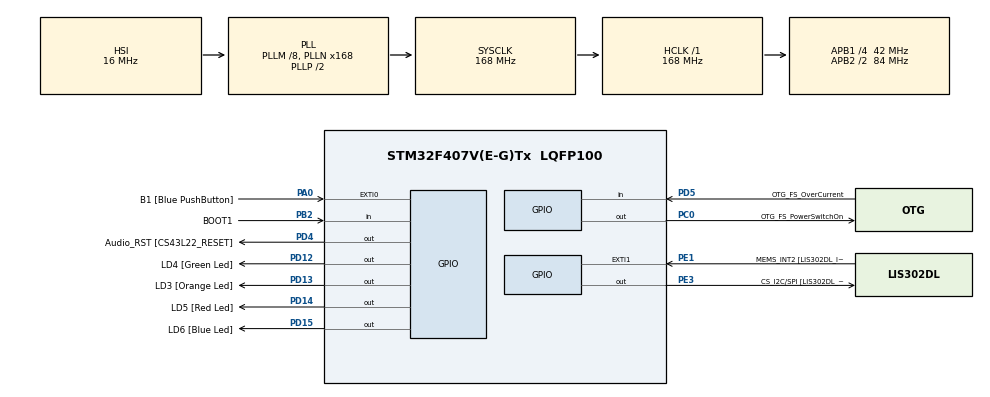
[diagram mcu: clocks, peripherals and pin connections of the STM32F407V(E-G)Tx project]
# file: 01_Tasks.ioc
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Mcu.Family=STM32F4
Mcu.Name=STM32F407V(E-G)Tx
Mcu.Package=LQFP100
NVIC.PriorityGroup=NVIC_PRIORITYGROUP_4
NVIC.TIM6_DAC_IRQn=true\:0\:0\:false\:false\:true\:false\:true\:true
NVIC.TimeBase=TIM6_DAC_IRQn
NVIC.TimeBaseIP=TIM6
PA0-WKUP.GPIO_Label=B1 [Blue PushButton]
PA0-WKUP.Signal=GPXTI0
PA10.GPIO_Label=OTG_FS_ID
PA10.GPIO_Mode=GPIO_MODE_AF_PP
PA10.GPIO_PuPd=GPIO_NOPULL
PA10.GPIO_Speed=GPIO_SPEED_FREQ_LOW
PA10.Signal=USB_OTG_FS_ID
PA11.GPIO_Label=OTG_FS_DM
PA11.GPIO_Mode=GPIO_MODE_AF_PP
PA11.GPIO_PuPd=GPIO_NOPULL
PA11.GPIO_Speed=GPIO_SPEED_FREQ_LOW
PA11.Signal=USB_OTG_FS_DM
PA12.GPIO_Label=OTG_FS_DP
PA12.GPIO_Mode=GPIO_MODE_AF_PP
PA12.GPIO_PuPd=GPIO_NOPULL
PA12.GPIO_Speed=GPIO_SPEED_FREQ_LOW
PA12.Signal=USB_OTG_FS_DP
PA13.GPIO_Label=SWDIO
PA13.Signal=SYS_JTMS-SWDIO
PA14.GPIO_Label=SWCLK
PA14.Signal=SYS_JTCK-SWCLK
PA4.GPIO_Label=I2S3_WS [CS43L22_LRCK]
PA4.GPIO_Mode=GPIO_MODE_AF_PP
PA4.GPIO_PuPd=GPIO_NOPULL
PA4.GPIO_Speed=GPIO_SPEED_FREQ_LOW
PA4.Signal=I2S3_WS
PA5.GPIO_Label=SPI1_SCK [LIS302DL_SCL/SPC]
PA5.GPIO_Mode=GPIO_MODE_AF_PP
PA5.GPIO_PuPd=GPIO_NOPULL
PA5.GPIO_Speed=GPIO_SPEED_FREQ_LOW
PA5.Signal=SPI1_SCK
PA6.GPIO_Label=SPI1_MISO [LIS302DL_SDO]
PA6.GPIO_Mode=GPIO_MODE_AF_PP
PA6.GPIO_PuPd=GPIO_NOPULL
PA6.GPIO_Speed=GPIO_SPEED_FREQ_LOW
PA6.Signal=SPI1_MISO
PA7.GPIO_Label=SPI1_MOSI [LIS302DL_SDA/SDI/SDO]
PA7.GPIO_Mode=GPIO_MODE_AF_PP
PA7.GPIO_PuPd=GPIO_NOPULL
PA7.GPIO_Speed=GPIO_SPEED_FREQ_LOW
PA7.Signal=SPI1_MOSI
PA9.GPIO_Label=VBUS_FS
PA9.GPIO_Mode=GPIO_MODE_INPUT
PA9.GPIO_PuPd=GPIO_NOPULL
PA9.Signal=USB_OTG_FS_VBUS
PB10.GPIO_Label=CLK_IN [MP45DT02_CLK]
PB10.GPIO_Mode=GPIO_MODE_AF_PP
PB10.GPIO_PuPd=GPIO_NOPULL
PB10.GPIO_Speed=GPIO_SPEED_FREQ_LOW
PB10.Signal=I2S2_CK
PB2.GPIO_Label=BOOT1
PB2.GPIO_Mode=GPIO_MODE_INPUT
PB2.GPIO_PuPd=GPIO_NOPULL
PB2.Signal=GPIO_Input
PB3.GPIO_Label=SWO
PB3.Signal=SYS_JTDO-SWO
PB6.GPIO_Label=Audio_SCL [CS43L22_SCL]
PB6.GPIO_Mode=GPIO_MODE_AF_OD
PB6.GPIO_PuPd=GPIO_NOPULL
PB6.GPIO_Speed=GPIO_SPEED_FREQ_LOW
PB6.Signal=I2C1_SCL
PB9.GPIO_Label=Audio_SDA [CS43L22_SDA]
PB9.GPIO_Mode=GPIO_MODE_AF_OD
PB9.GPIO_PuPd=GPIO_NOPULL
PB9.GPIO_Speed=GPIO_SPEED_FREQ_LOW
PB9.Signal=I2C1_SDA
PC0.GPIO_Label=OTG_FS_PowerSwitchOn
PC0.GPIO_PuPd=GPIO_NOPULL
PC0.GPIO_Speed=GPIO_SPEED_FREQ_LOW
PC0.PinState=GPIO_PIN_SET
PC0.Signal=GPIO_Output
PC10.GPIO_Label=I2S3_SCK [CS43L22_SCLK]
PC10.GPIO_Mode=GPIO_MODE_AF_PP
PC10.GPIO_PuPd=GPIO_NOPULL
PC10.GPIO_Speed=GPIO_SPEED_FREQ_LOW
PC10.Signal=I2S3_CK
PC12.GPIO_Label=I2S3_SD [CS43L22_SDIN]
PC12.GPIO_Mode=GPIO_MODE_AF_PP
PC12.GPIO_PuPd=GPIO_NOPULL
PC12.GPIO_Speed=GPIO_SPEED_FREQ_LOW
PC12.Signal=I2S3_SD
PC14-OSC32_IN.GPIO_Label=PC14-OSC32_IN
PC14-OSC32_IN.Signal=RCC_OSC32_IN
PC15-OSC32_OUT.GPIO_Label=PC15-OSC32_OUT
PC15-OSC32_OUT.Signal=RCC_OSC32_OUT
PC3.GPIO_Label=PDM_OUT [MP45DT02_DOUT]
PC3.GPIO_Mode=GPIO_MODE_AF_PP
PC3.GPIO_PuPd=GPIO_NOPULL
PC3.GPIO_Speed=GPIO_SPEED_FREQ_LOW
PC3.Signal=I2S2_SD
PC7.GPIO_Label=I2S3_MCK [CS43L22_MCLK]
PC7.GPIO_Mode=GPIO_MODE_AF_PP
PC7.GPIO_PuPd=GPIO_NOPULL
PC7.GPIO_Speed=GPIO_SPEED_FREQ_LOW
PC7.Signal=I2S3_MCK
PD12.GPIO_Label=LD4 [Green Led]
PD12.GPIO_PuPd=GPIO_NOPULL
PD12.GPIO_Speed=GPIO_SPEED_FREQ_LOW
PD12.Signal=GPIO_Output
PD13.GPIO_Label=LD3 [Orange Led]
PD13.GPIO_PuPd=GPIO_NOPULL
PD13.GPIO_Speed=GPIO_SPEED_FREQ_LOW
PD13.Signal=GPIO_Output
PD14.GPIO_Label=LD5 [Red Led]
PD14.GPIO_PuPd=GPIO_NOPULL
PD14.GPIO_Speed=GPIO_SPEED_FREQ_LOW
PD14.Signal=GPIO_Output
PD15.GPIO_Label=LD6 [Blue Led]
PD15.GPIO_PuPd=GPIO_NOPULL
PD15.GPIO_Speed=GPIO_SPEED_FREQ_LOW
PD15.Signal=GPIO_Output
PD4.GPIO_Label=Audio_RST [CS43L22_RESET]
PD4.GPIO_PuPd=GPIO_NOPULL
PD4.GPIO_Speed=GPIO_SPEED_FREQ_LOW
PD4.Signal=GPIO_Output
PD5.GPIO_Label=OTG_FS_OverCurrent
PD5.GPIO_Mode=GPIO_MODE_INPUT
PD5.GPIO_PuPd=GPIO_NOPULL
PD5.Signal=GPIO_Input
PE1.GPIO_Label=MEMS_INT2 [LIS302DL_INT2]
PE1.GPIO_ModeDefaultEXTI=GPIO_MODE_EVT_RISING
PE1.GPIO_PuPd=GPIO_NOPULL
PE1.Signal=GPXTI1
PE3.GPIO_Label=CS_I2C/SPI [LIS302DL_CS_I2C/SPI]
PE3.GPIO_PuPd=GPIO_NOPULL
PE3.GPIO_Speed=GPIO_SPEED_FREQ_LOW
PE3.Signal=GPIO_Output
PH0-OSC_IN.GPIO_Label=PH0-OSC_IN
PH0-OSC_IN.Signal=RCC_OSC_IN
PH1-OSC_OUT.GPIO_Label=PH1-OSC_OUT
PH1-OSC_OUT.Signal=RCC_OSC_OUT
ProjectManager.HeapSize=0x200
ProjectManager.StackSize=0x400
ProjectManager.TargetToolchain=STM32CubeIDE
RCC.48MHZClocksFreq_Value=48000000
RCC.AHBFreq_Value=168000000
RCC.APB1CLKDivider=RCC_HCLK_DIV4
RCC.APB1Freq_Value=42000000
RCC.APB1TimFreq_Value=84000000
RCC.APB2CLKDivider=RCC_HCLK_DIV2
RCC.APB2Freq_Value=84000000
RCC.APB2TimFreq_Value=168000000
RCC.CortexFreq_Value=168000000
RCC.HCLKFreq_Value=168000000
RCC.HSE_VALUE=8000000
RCC.HSI_VALUE=16000000
RCC.LSE_VALUE=32768
RCC.PLLM=8
RCC.PLLN=168
RCC.PLLQ=7
RCC.SYSCLKFreq_VALUE=168000000
RCC.SYSCLKSource=RCC_SYSCLKSOURCE_PLLCLK
RCC.VCOOutputFreq_Value=336000000
VP_SYS_VS_tim6.Mode=TIM6
board=STM32F407G-DISC1

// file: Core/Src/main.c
/* USER CODE BEGIN Header */
/**
  ******************************************************************************
  * @file           : main.c
  * @brief          : Main program body
  ******************************************************************************
  * @attention
  *
  * Copyright (c) 2023 STMicroelectronics.
  * All rights reserved.
  *
  * This software is licensed under terms that can be found in the LICENSE file
  * in the root directory of this software component.
  * If no LICENSE file comes with this software, it is provided AS-IS.
  *
  ******************************************************************************
  */
/* USER CODE END Header */
#include "main.h"

/* USER CODE BEGIN Includes */
#include <stdio.h>
#include "FreeRTOS.h"
#include "task.h"

extern void SEGGER_UART_init(uint32_t);
/* USER CODE END Includes */

/* USER CODE BEGIN PV */
#define DWT_CTRL 	(*(volatile uint32_t *)0xE0001000)
/* USER CODE END PV */

void SystemClock_Config(void);
static void MX_GPIO_Init(void);
/* USER CODE BEGIN PFP */
static void task1_handler(void *parameters);
static void task2_handler(void *parameters);

/* USER CODE END PFP */

int main(void)
{
  /* USER CODE BEGIN 1 */

	TaskHandle_t task1_handle;
	TaskHandle_t task2_handle;

	BaseType_t status;

  /* USER CODE END 1 */

  /* MCU Configuration--------------------------------------------------------*/

  /* Reset of all peripherals, Initializes the Flash interface and the Systick. */
  HAL_Init();

  /* Configure the system clock */
  SystemClock_Config();

  /* Initialize all configured peripherals */
  MX_GPIO_Init();
  /* USER CODE BEGIN 2 */

  // Initialize UART with desired baudrate for SEGGER SystemView with UART-based recording
  SEGGER_UART_init(500000);

  // Enable the cycle counter
  DWT_CTRL |= (0x1 << 0);	// Set SYCCNTENA bit of DWT_CYCCNT register

  // Start the SEGGER SystemView recording of events
  SEGGER_SYSVIEW_Conf();
  //SEGGER_SYSVIEW_Start(); // This function will be called from ThirdParty/Rec/segger_uart.c

  // Create Task1 and make sure that the task creation was successful
  status = xTaskCreate(task1_handler, "Task1", 200, "Hello world from Task1", 2, &task1_handle);
  configASSERT(status == pdPASS);

  // Create Task2 and make sure that the task creation was successful
  status = xTaskCreate(task2_handler, "Task2", 200, "Hello world from Task2", 2, &task2_handle);
  configASSERT(status == pdPASS);

  // Start FreeRTOS scheduler
  // vTaskStartScheduler() never returns unless there's a problem launching scheduler
  vTaskStartScheduler();

  // This line will only be reached if the kernel could not be started because there was
  // not enough FreeRTOS heap to create the idle task or the timer task.

  /* USER CODE END 2 */

  /* Infinite loop */
  while (1)
  {

  }
}

void SystemClock_Config(void)
{
  RCC_OscInitTypeDef RCC_OscInitStruct = {0};
  RCC_ClkInitTypeDef RCC_ClkInitStruct = {0};

  /** Configure the main internal regulator output voltage
  */
  __HAL_RCC_PWR_CLK_ENABLE();
  __HAL_PWR_VOLTAGESCALING_CONFIG(PWR_REGULATOR_VOLTAGE_SCALE1);

  /** Initializes the RCC Oscillators according to the specified parameters
  * in the RCC_OscInitTypeDef structure.
  */
  RCC_OscInitStruct.OscillatorType = RCC_OSCILLATORTYPE_HSI;
  RCC_OscInitStruct.HSIState = RCC_HSI_ON;
  RCC_OscInitStruct.HSICalibrationValue = RCC_HSICALIBRATION_DEFAULT;
  RCC_OscInitStruct.PLL.PLLState = RCC_PLL_ON;
  RCC_OscInitStruct.PLL.PLLSource = RCC_PLLSOURCE_HSI;
  RCC_OscInitStruct.PLL.PLLM = 8;
  RCC_OscInitStruct.PLL.PLLN = 168;
  RCC_OscInitStruct.PLL.PLLP = RCC_PLLP_DIV2;
  RCC_OscInitStruct.PLL.PLLQ = 7;
  if (HAL_RCC_OscConfig(&RCC_OscInitStruct) != HAL_OK)
  {
    Error_Handler();
  }

  /** Initializes the CPU, AHB and APB buses clocks
  */
  RCC_ClkInitStruct.ClockType = RCC_CLOCKTYPE_HCLK|RCC_CLOCKTYPE_SYSCLK
                              |RCC_CLOCKTYPE_PCLK1|RCC_CLOCKTYPE_PCLK2;
  RCC_ClkInitStruct.SYSCLKSource = RCC_SYSCLKSOURCE_PLLCLK;
  RCC_ClkInitStruct.AHBCLKDivider = RCC_SYSCLK_DIV1;
  RCC_ClkInitStruct.APB1CLKDivider = RCC_HCLK_DIV4;
  RCC_ClkInitStruct.APB2CLKDivider = RCC_HCLK_DIV2;

  if (HAL_RCC_ClockConfig(&RCC_ClkInitStruct, FLASH_LATENCY_5) != HAL_OK)
  {
    Error_Handler();
  }
}

static void MX_GPIO_Init(void)
{
  GPIO_InitTypeDef GPIO_InitStruct = {0};

  /* GPIO Ports Clock Enable */
  __HAL_RCC_GPIOE_CLK_ENABLE();
  __HAL_RCC_GPIOC_CLK_ENABLE();
  __HAL_RCC_GPIOH_CLK_ENABLE();
  __HAL_RCC_GPIOA_CLK_ENABLE();
  __HAL_RCC_GPIOB_CLK_ENABLE();
  __HAL_RCC_GPIOD_CLK_ENABLE();

  /*Configure GPIO pin Output Level */
  HAL_GPIO_WritePin(CS_I2C_SPI_GPIO_Port, CS_I2C_SPI_Pin, GPIO_PIN_RESET);

  /*Configure GPIO pin Output Level */
  HAL_GPIO_WritePin(OTG_FS_PowerSwitchOn_GPIO_Port, OTG_FS_PowerSwitchOn_Pin, GPIO_PIN_SET);

  /*Configure GPIO pin Output Level */
  HAL_GPIO_WritePin(GPIOD, LD4_Pin|LD3_Pin|LD5_Pin|LD6_Pin
                          |Audio_RST_Pin, GPIO_PIN_RESET);

  /*Configure GPIO pin : CS_I2C_SPI_Pin */
  GPIO_InitStruct.Pin = CS_I2C_SPI_Pin;
  GPIO_InitStruct.Mode = GPIO_MODE_OUTPUT_PP;
  GPIO_InitStruct.Pull = GPIO_NOPULL;
  GPIO_InitStruct.Speed = GPIO_SPEED_FREQ_LOW;
  HAL_GPIO_Init(CS_I2C_SPI_GPIO_Port, &GPIO_InitStruct);

  /*Configure GPIO pin : OTG_FS_PowerSwitchOn_Pin */
  GPIO_InitStruct.Pin = OTG_FS_PowerSwitchOn_Pin;
  GPIO_InitStruct.Mode = GPIO_MODE_OUTPUT_PP;
  GPIO_InitStruct.Pull = GPIO_NOPULL;
  GPIO_InitStruct.Speed = GPIO_SPEED_FREQ_LOW;
  HAL_GPIO_Init(OTG_FS_PowerSwitchOn_GPIO_Port, &GPIO_InitStruct);

  /*Configure GPIO pin : PDM_OUT_Pin */
  GPIO_InitStruct.Pin = PDM_OUT_Pin;
  GPIO_InitStruct.Mode = GPIO_MODE_AF_PP;
  GPIO_InitStruct.Pull = GPIO_NOPULL;
  GPIO_InitStruct.Speed = GPIO_SPEED_FREQ_LOW;
  GPIO_InitStruct.Alternate = GPIO_AF5_SPI2;
  HAL_GPIO_Init(PDM_OUT_GPIO_Port, &GPIO_InitStruct);

  /*Configure GPIO pin : B1_Pin */
  GPIO_InitStruct.Pin = B1_Pin;
  GPIO_InitStruct.Mode = GPIO_MODE_IT_RISING;
  GPIO_InitStruct.Pull = GPIO_NOPULL;
  HAL_GPIO_Init(B1_GPIO_Port, &GPIO_InitStruct);

  /*Configure GPIO pin : I2S3_WS_Pin */
  GPIO_InitStruct.Pin = I2S3_WS_Pin;
  GPIO_InitStruct.Mode = GPIO_MODE_AF_PP;
  GPIO_InitStruct.Pull = GPIO_NOPULL;
  GPIO_InitStruct.Speed = GPIO_SPEED_FREQ_LOW;
  GPIO_InitStruct.Alternate = GPIO_AF6_SPI3;
  HAL_GPIO_Init(I2S3_WS_GPIO_Port, &GPIO_InitStruct);

  /*Configure GPIO pins : SPI1_SCK_Pin SPI1_MISO_Pin SPI1_MOSI_Pin */
  GPIO_InitStruct.Pin = SPI1_SCK_Pin|SPI1_MISO_Pin|SPI1_MOSI_Pin;
  GPIO_InitStruct.Mode = GPIO_MODE_AF_PP;
  GPIO_InitStruct.Pull = GPIO_NOPULL;
  GPIO_InitStruct.Speed = GPIO_SPEED_FREQ_LOW;
  GPIO_InitStruct.Alternate = GPIO_AF5_SPI1;
  HAL_GPIO_Init(GPIOA, &GPIO_InitStruct);

  /*Configure GPIO pin : BOOT1_Pin */
  GPIO_InitStruct.Pin = BOOT1_Pin;
  GPIO_InitStruct.Mode = GPIO_MODE_INPUT;
  GPIO_InitStruct.Pull = GPIO_NOPULL;
  HAL_GPIO_Init(BOOT1_GPIO_Port, &GPIO_InitStruct);

  /*Configure GPIO pin : CLK_IN_Pin */
  GPIO_InitStruct.Pin = CLK_IN_Pin;
  GPIO_InitStruct.Mode = GPIO_MODE_AF_PP;
  GPIO_InitStruct.Pull = GPIO_NOPULL;
  GPIO_InitStruct.Speed = GPIO_SPEED_FREQ_LOW;
  GPIO_InitStruct.Alternate = GPIO_AF5_SPI2;
  HAL_GPIO_Init(CLK_IN_GPIO_Port, &GPIO_InitStruct);

  /*Configure GPIO pins : LD4_Pin LD3_Pin LD5_Pin LD6_Pin
                           Audio_RST_Pin */
  GPIO_InitStruct.Pin = LD4_Pin|LD3_Pin|LD5_Pin|LD6_Pin
                          |Audio_RST_Pin;
  GPIO_InitStruct.Mode = GPIO_MODE_OUTPUT_PP;
  GPIO_InitStruct.Pull = GPIO_NOPULL;
  GPIO_InitStruct.Speed = GPIO_SPEED_FREQ_LOW;
  HAL_GPIO_Init(GPIOD, &GPIO_InitStruct);

  /*Configure GPIO pins : I2S3_MCK_Pin I2S3_SCK_Pin I2S3_SD_Pin */
  GPIO_InitStruct.Pin = I2S3_MCK_Pin|I2S3_SCK_Pin|I2S3_SD_Pin;
  GPIO_InitStruct.Mode = GPIO_MODE_AF_PP;
  GPIO_InitStruct.Pull = GPIO_NOPULL;
  GPIO_InitStruct.Speed = GPIO_SPEED_FREQ_LOW;
  GPIO_InitStruct.Alternate = GPIO_AF6_SPI3;
  HAL_GPIO_Init(GPIOC, &GPIO_InitStruct);

  /*Configure GPIO pin : VBUS_FS_Pin */
  GPIO_InitStruct.Pin = VBUS_FS_Pin;
  GPIO_InitStruct.Mode = GPIO_MODE_INPUT;
  GPIO_InitStruct.Pull = GPIO_NOPULL;
  HAL_GPIO_Init(VBUS_FS_GPIO_Port, &GPIO_InitStruct);

  /*Configure GPIO pins : OTG_FS_ID_Pin OTG_FS_DM_Pin OTG_FS_DP_Pin */
  GPIO_InitStruct.Pin = OTG_FS_ID_Pin|OTG_FS_DM_Pin|OTG_FS_DP_Pin;
  GPIO_InitStruct.Mode = GPIO_MODE_AF_PP;
  GPIO_InitStruct.Pull = GPIO_NOPULL;
  GPIO_InitStruct.Speed = GPIO_SPEED_FREQ_LOW;
  GPIO_InitStruct.Alternate = GPIO_AF10_OTG_FS;
  HAL_GPIO_Init(GPIOA, &GPIO_InitStruct);

  /*Configure GPIO pin : OTG_FS_OverCurrent_Pin */
  GPIO_InitStruct.Pin = OTG_FS_OverCurrent_Pin;
  GPIO_InitStruct.Mode = GPIO_MODE_INPUT;
  GPIO_InitStruct.Pull = GPIO_NOPULL;
  HAL_GPIO_Init(OTG_FS_OverCurrent_GPIO_Port, &GPIO_InitStruct);

  /*Configure GPIO pins : Audio_SCL_Pin Audio_SDA_Pin */
  GPIO_InitStruct.Pin = Audio_SCL_Pin|Audio_SDA_Pin;
  GPIO_InitStruct.Mode = GPIO_MODE_AF_OD;
  GPIO_InitStruct.Pull = GPIO_NOPULL;
  GPIO_InitStruct.Speed = GPIO_SPEED_FREQ_LOW;
  GPIO_InitStruct.Alternate = GPIO_AF4_I2C1;
  HAL_GPIO_Init(GPIOB, &GPIO_InitStruct);

  /*Configure GPIO pin : MEMS_INT2_Pin */
  GPIO_InitStruct.Pin = MEMS_INT2_Pin;
  GPIO_InitStruct.Mode = GPIO_MODE_EVT_RISING;
  GPIO_InitStruct.Pull = GPIO_NOPULL;
  HAL_GPIO_Init(MEMS_INT2_GPIO_Port, &GPIO_InitStruct);

}

/* USER CODE BEGIN 4 */

// Task1 Handler
static void task1_handler(void *parameters)
{
	while (1)
	{
		// Using '_write()' defined in Src/syscalls.c
		//printf("%s\n", (char *)parameters);

		// Using '_write()' defined in ThirdParty/SEGGER/SEGGER/Syscalls/SEGGER_RTT_Syscalls_GCC.c
		// This way you'll be able to see the message on SEGGER SystemView.
		char msg[100];
		snprintf(msg, 100, "%s\n", (char *)parameters); /* formatted string is stored in 'msg' */
		SEGGER_SYSVIEW_PrintfTarget(msg); /* pass the formatted string as an argument */

		taskYIELD();	// Force context switch
	}
}

// Task 2 Handler
static void task2_handler(void *parameters)
{
	while (1)
	{
		// Using '_write()' defined in Src/syscalls.c
		//printf("%s\n", (char *)parameters);

		// Using '_write()' defined in ThirdParty/SEGGER/SEGGER/Syscalls/SEGGER_RTT_Syscalls_GCC.c
		// This way you'll be able to see the message on SEGGER SystemView.
		char msg[100];
		snprintf(msg, 100, "%s\n", (char *)parameters); /* formatted string is stored in 'msg' */
		SEGGER_SYSVIEW_PrintfTarget(msg); /* pass the formatted string as an argument */

		taskYIELD();	// Force context switch
	}
}

/* USER CODE END 4 */

void HAL_TIM_PeriodElapsedCallback(TIM_HandleTypeDef *htim)
{
  if (htim->Instance == TIM6) {
    HAL_IncTick();
  }
}

void Error_Handler(void)
{
  __disable_irq();
  while (1)
  {
  }
}
